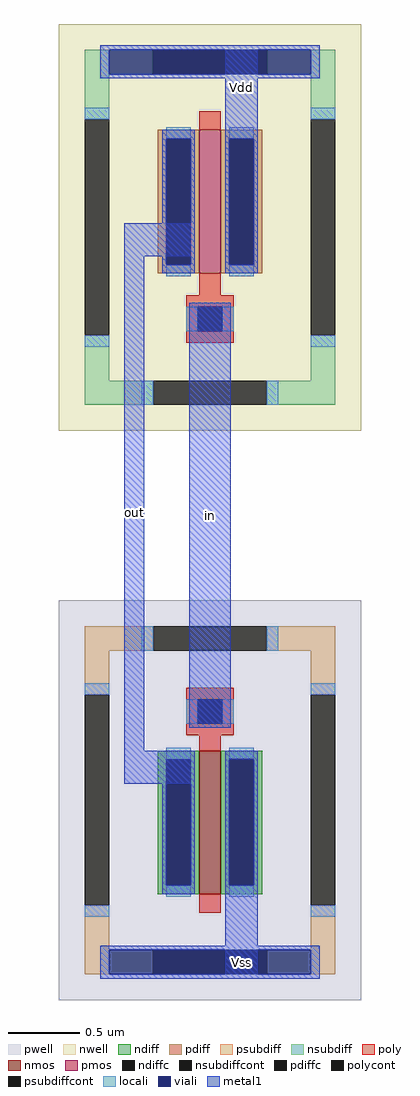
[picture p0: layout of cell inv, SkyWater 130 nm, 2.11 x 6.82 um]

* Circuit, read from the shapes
.subckt inv in out Vss Vdd
XM1 Vss in out Vss sky130_fd_pr__nfet_01v8 w=1 l=0.15
XM2 Vdd in out Vdd sky130_fd_pr__pfet_01v8 w=1 l=0.15
.ends

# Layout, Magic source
magic
tech sky130A
magscale 1 2
<< metal1 >>
rect 21 924 67 1054
rect -120 760 -21 806
rect -120 69 -92 760
rect -29 101 29 695
rect -120 23 -21 69
rect 21 -249 67 -119
use sky130_fd_pr__nfet_01v8_Q2DK6P  nmos0
transform 1 0 0 0 1 0
box -211 -279 211 279
use sky130_fd_pr__pfet_01v8_WYDX9M  pmos0
transform 1 0 0 0 1 800
box -211 -284 211 284
<< labels >>
rlabel metal1 0 398 0 398 0 in
port 1 nsew
rlabel metal1 -106 402 -106 402 0 out
port 2 nsew
rlabel metal1 44 -226 44 -226 0 Vss
port 3 nsew
rlabel metal1 44 995 44 995 0 Vdd
port 4 nsew
<< end >>

# cell sky130_fd_pr__nfet_01v8_Q2DK6P: kit device sky130_fd_pr__nfet_01v8, w 1 l 0.15 m 1 nf 1 diffcov 100 polycov 100 guard 1 glc 1 grc 1 gtc 1 gbc 1 tbcov 100 rlcov 100 topc 1 botc 0 poverlap 0 doverlap 1 lmin 0.15 wmin 0.42 class mosfet compatible {sky130_fd_pr__nfet_01v8 sky130_fd_pr__nfet_01v8_lvt sky130_fd_bs_flash__special_sonosfet_star sky130_fd_pr__nfet_g5v0d10v5 sky130_fd_pr__nfet_05v0_nvt sky130_fd_pr__nfet_03v3_nvt} full_metal 0 conn_gates 0 viasrc 100 viadrn 100 viagate 100 viagb 100 viagr 0 viagl 0 viagt 0 doports 1

# cell sky130_fd_pr__pfet_01v8_WYDX9M: kit device sky130_fd_pr__pfet_01v8, w 1 l 0.15 m 1 nf 1 diffcov 100 polycov 100 guard 1 glc 1 grc 1 gtc 1 gbc 1 tbcov 100 rlcov 100 topc 0 botc 1 poverlap 0 doverlap 1 lmin 0.15 wmin 0.42 class mosfet compatible {sky130_fd_pr__pfet_01v8 sky130_fd_pr__pfet_01v8_lvt sky130_fd_pr__pfet_01v8_hvt sky130_fd_pr__pfet_g5v0d10v5} full_metal 0 conn_gates 0 viasrc 100 viadrn 100 viagate 100 viagb 0 viagr 0 viagl 0 viagt 100 doports 1
